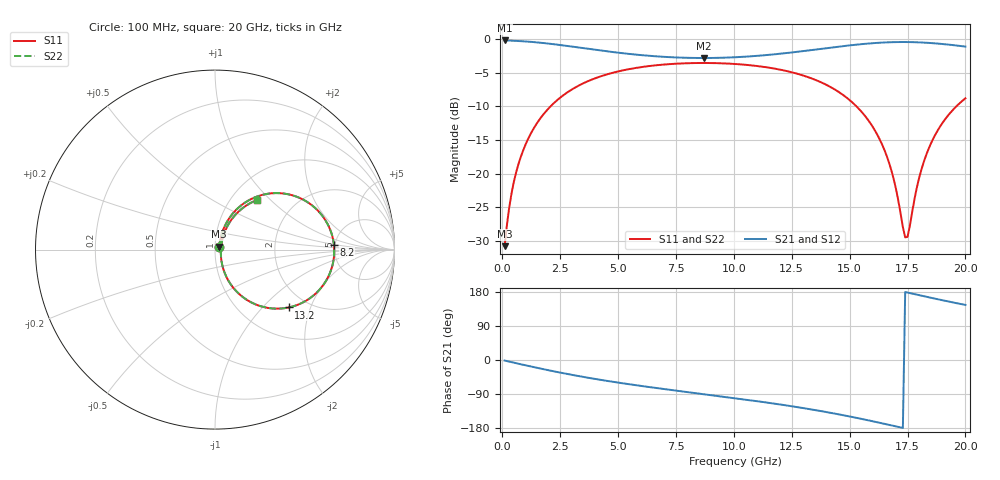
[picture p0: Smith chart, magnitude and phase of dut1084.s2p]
! Touchstone file exported from HFSS 2026.1.0
!  File:  C:/ffzhzh/LocalFiles/Ansys_Project_Files/temp_train_TSV_RDL_1084_1783300903_30076.aedt
!  Generated:  09:32:39 AM Jul  6, 2026
!  Design:  TSV_RDL
!  Project:  temp_train_TSV_RDL_1084_1783300903_30076
! Variables:
!  h_bsmrdl = 3.5um
!  h_ox = 20um
!  h_rdl = 5um
!  h_sub = 52.31um
!  h_tmrdl = 3.86um
!  h_tsv = 52.31um
!  h_via = 3um
!  l_bsmrdl = 864.35um
!  l_sub = 3752.02um
!  l_tmrdl = 162.66um
!  m_sub = 200um
!  pitch = 50.97um
!  r_tsv = 5.71um
!  s_tmrdl = 10um
!  w_bsmrdl = 13.67um
!  w_sub = 500um
!  w_tmrdl = 22.44um
!  x_tsv_center1 = 173.88um
!  x_tsv_center2 = 1051.9um
!  x_tsv_center3 = 1237um
!  x_tsv_center4 = 2115.02um
!  x_tsv_center5 = 2300.12um
!  x_tsv_center6 = 3178.14um
# GHz S MA R 50.000000
! Terminal data exported
! Port[1] = TM_RDL1_1_T1
! Port[2] = TM_RDL5_1_T1
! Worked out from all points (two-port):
!   200 points, 100 MHz to 20 GHz, reference 50 ohm
!   highest |S21| = -0.21 dB at 100 MHz (marker M1); lowest = -2.8 dB at 8.7 GHz (marker M2)
!   |S21| within 3 dB of the highest: start of sweep to end of sweep
!   lowest |S11| = -30.8 dB at 100 MHz (marker M3), VSWR 1.06, Z = 52.4 + j1.74 ohm
!   |S11| at or under -10 dB: start of sweep to 2.082 GHz; 15.3 GHz to 19.61 GHz (4.309 GHz wide, 24.7 % of centre)
!   |S22| runs from -30.8 to -3.6 dB; largest |S21 - S12| = 2.8e-14
!   S11 on the Smith chart (normalised r, x): 100 MHz: 1.05, +0.03; 8.2 GHz: 4.89, +0.45; 13.2 GHz: 1.61, -1.43; 20 GHz: 1.31, +0.84
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0.1  0.02897 34.9  0.9765 -1.4  0.9765 -1.4  0.02897 34.9
! Gamma 0 0 0 0
! Port Impedance 50 0 50 0
0.3  0.05634 60.2  0.9745 -4.3  0.9745 -4.3  0.05634 60.2
0.5  0.08719 66.1  0.9713 -7.1  0.9713 -7.1  0.08719 66.1
1.1  0.1791 66.2  0.9576 -15.3  0.9576 -15.3  0.1791 66.2
2.1  0.3185 56.8  0.9212 -28.3  0.9212 -28.3  0.3185 56.8
3.5  0.4695 42.1  0.8564 -44.6  0.8564 -44.6  0.4695 42.1
6.8  0.6428 12.9  0.7413 -75.2  0.7413 -75.2  0.6428 13.0
8.2  0.6631 2.2  0.7244 -86.3  0.7244 -86.3  0.6631 2.3
8.7  0.6645 -1.5  0.7233 -90.2  0.7233 -90.2  0.6645 -1.5
10.1  0.6523 -12.1  0.7335 -101.2  0.7335 -101.2  0.6523 -12.1
13.2  0.522 -38.2  0.8222 -128.9  0.8222 -128.9  0.522 -38.1
13.4  0.5072 -40.0  0.8304 -131.0  0.8304 -131.0  0.5072 -40.0
15.5  0.2904 -60.8  0.9164 -155.2  0.9164 -155.2  0.2904 -60.8
16.2  0.1942 -66.5  0.9372 -164.3  0.9372 -164.3  0.1942 -66.4
16.7  0.121 -67.0  0.9467 -171.1  0.9467 -171.1  0.1211 -66.9
17  0.07739 -61.6  0.9498 -175.2  0.9498 -175.2  0.07745 -61.5
17.4  0.03367 -14.5  0.9508 179.3  0.9508 179.3  0.03385 -14.4
17.5  0.03396 11.1  0.9505 178.0  0.9505 178.0  0.03415 11.0
18  0.09275 59.1  0.9453 171.1  0.9453 171.1  0.09283 59.0
18.4  0.1513 62.1  0.9372 165.7  0.9372 165.7  0.1514 62.0
19.1  0.2505 58.1  0.9159 156.5  0.9159 156.5  0.2505 58.1
20  0.363 49.7  0.8794 145.3  0.8794 145.3  0.3631 49.7
